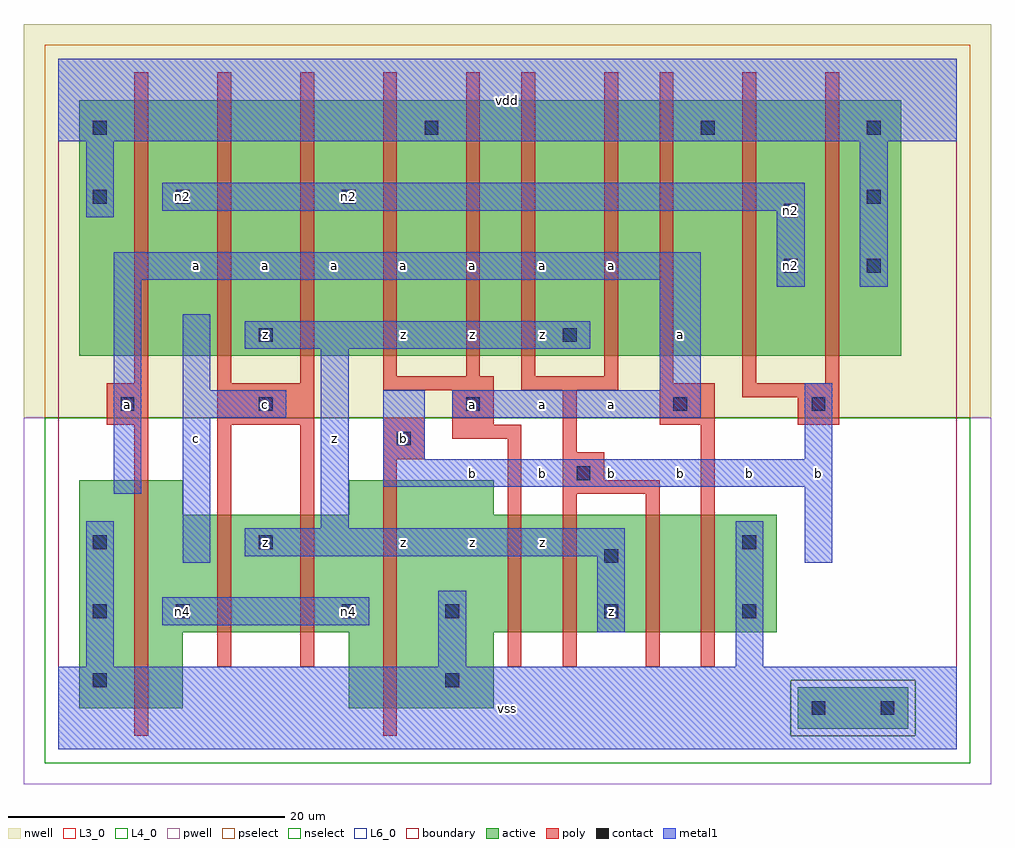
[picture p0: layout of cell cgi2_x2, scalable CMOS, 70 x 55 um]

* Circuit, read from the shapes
.subckt cgi2_x2 a b c n2 n4 vdd vss z
M1 n4 a vss vss nfet w=16.5u l=1u
M2 z c n4 vss nfet w=8.5u l=1u m=2
M3 vss b n4 vss nfet w=16.5u l=1u
M4 n1 a vss vss nfet w=8.5u l=1u
M5 z b n1 vss nfet w=8.5u l=1u
M6 n3 b z vss nfet w=8.5u l=1u
M7 vss a n3 vss nfet w=8.5u l=1u
M8 n2 a vdd n5 pfet w=18.5u l=1u m=2
M9 z c n2 n5 pfet w=18.5u l=1u m=2
M10 n6 a vdd n5 pfet w=18.5u l=1u
M11 z b n6 n5 pfet w=18.5u l=1u
M12 n7 b z n5 pfet w=18.5u l=1u
M13 vdd a n7 n5 pfet w=18.5u l=1u
M14 n2 b vdd n5 pfet w=18.5u l=1u m=2
.ends

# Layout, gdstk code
import gdstk
lib = gdstk.Library(unit=1e-6, precision=1e-09)
def R(c, l, rs):  # rectangles x0, y0, x1, y1
    for r in rs: c.add(gdstk.rectangle(r[:2], r[2:], *l))
def A(c, l, x, y, w, h, nx, ny, dx, dy):  # array of equal rectangles
    R(c, l, [(x+i*dx, y+j*dy, x+i*dx+w, y+j*dy+h) for i in range(nx) for j in range(ny)])
L3_0 = (3, 0)
L4_0 = (4, 0)
L6_0 = (6, 0)
contact = (25, 0)
pwell = (41, 0)
nwell = (42, 0)
active = (43, 0)
pselect = (44, 0)
nselect = (45, 0)
poly = (46, 0)
metal1 = (49, 0)
boundary = (63, 0)

cgi2_x2 = lib.new_cell('cgi2_x2')
R(cgi2_x2, L3_0, [(1.5,3,9,8.5), (21,3,31.5,8.5), (1.5,8.5,52,17), (1.5,17,9,19.5), (21,17,31.5,19.5)])
R(cgi2_x2, L4_0, [(1.5,28.5,61,47)])
R(cgi2_x2, L6_0, [(53.5,1.5,61.5,4.5)])
A(cgi2_x2, contact, 2.5, 4.5, 1, 1, 1, 3, 0, 5)
A(cgi2_x2, contact, 14.5, 24.5, 1, 1, 3, 1, 15, 0)
A(cgi2_x2, contact, 58.5, 34.5, 1, 1, 1, 3, 0, 5)
R(cgi2_x2, contact, [(54.5,2.5,55.5,3.5), (59.5,2.5,60.5,3.5), (28,4.5,29,5.5), (8.5,9.5,9.5,10.5), (20.5,9.5,21.5,10.5), (28,9.5,29,10.5), (39.5,9.5,40.5,10.5), (49.5,9.5,50.5,10.5), (39.5,13.5,40.5,14.5), (14.5,14.5,15.5,15.5), (49.5,14.5,50.5,15.5), (37.5,19.5,38.5,20.5), (24.5,22,25.5,23), (4.5,24.5,5.5,25.5), (54.5,24.5,55.5,25.5), (14.5,29.5,15.5,30.5), (36.5,29.5,37.5,30.5), (52.5,34.5,53.5,35.5), (52.5,38.5,53.5,39.5), (2.5,39.5,3.5,40.5), (8.5,39.5,9.5,40.5), (20.5,39.5,21.5,40.5), (2.5,44.5,3.5,45.5), (26.5,44.5,27.5,45.5), (46.5,44.5,47.5,45.5)])
R(cgi2_x2, pwell, [(-2.5,-2.5,67.5,24)])
R(cgi2_x2, nwell, [(-2.5,24,67.5,52.5)])
R(cgi2_x2, active, [(53.5,1.5,61.5,4.5), (1.5,3,9,8.5), (21,3,31.5,8.5), (1.5,8.5,52,17), (1.5,17,9,19.5), (21,17,31.5,19.5), (1.5,28.5,61,47)])
R(cgi2_x2, pselect, [(53,1,62,5), (-1,24,66,51)])
R(cgi2_x2, nselect, [(-1,-1,66,1), (-1,1,53,5), (62,1,66,5), (-1,5,66,24)])
A(cgi2_x2, poly, 5.5, 26.5, 1, 22.5, 3, 1, 6, 0)
A(cgi2_x2, poly, 43.5, 26.5, 1, 22.5, 3, 1, 6, 0)
R(cgi2_x2, poly, [(5.5,1,6.5,23.5), (23.5,1,24.5,21), (11.5,6,12.5,23.5), (17.5,6,18.5,23.5), (32.5,6,33.5,22.5), (36.5,6,37.5,18.5), (42.5,6,43.5,18.5), (46.5,6,47.5,23.5), (36.5,18.5,43.5,19.5), (36.5,19.5,39.5,21.5), (23.5,21,26.5,24), (36.5,21.5,37.5,26), (28.5,22.5,33.5,23.5), (3.5,23.5,6.5,26.5), (11.5,23.5,18.5,26.5), (28.5,23.5,31.5,26), (43.5,23.5,47.5,26.5), (53.5,23.5,56.5,25.5), (49.5,25.5,56.5,26.5), (23.5,26,31.5,27), (33.5,26,40.5,27), (23.5,27,24.5,49), (29.5,27,30.5,49), (33.5,27,34.5,49), (39.5,27,40.5,49)])
R(cgi2_x2, metal1, [(0,0,65,6), (0,0,65,6), (2,6,4,16.5), (2,6,4,16.5), (27.5,6,29.5,11.5), (27.5,6,29.5,11.5), (49,6,51,16.5), (49,6,51,16.5), (39,8.5,41,14), (39,8.5,41,14), (7.5,9,22.5,11), (7.5,9,22.5,11), (9,13.5,11,24), (9,13.5,11,24), (54,13.5,56,19), (54,13.5,56,19), (13.5,14,41,16), (13.5,14,41,16), (19,16,21,29), (19,16,21,29), (4,18.5,6,34), (4,18.5,6,34), (23.5,19,56,21), (23.5,19,56,21), (23.5,21,26.5,26), (23.5,21,26.5,26), (54,21,56,26.5), (54,21,56,26.5), (9,24,16.5,26), (9,24,16.5,26), (28.5,24,46.5,26), (28.5,24,46.5,26), (9,26,11,31.5), (9,26,11,31.5), (43.5,26,46.5,34), (43.5,26,46.5,34), (13.5,29,38.5,31), (13.5,29,38.5,31), (52,33.5,54,39), (52,33.5,54,39), (58,33.5,60,44), (58,33.5,60,44), (4,34,46.5,36), (4,34,46.5,36), (2,38.5,4,44), (2,38.5,4,44), (7.5,39,54,41), (7.5,39,54,41), (0,44,65,50), (0,44,65,50)])
R(cgi2_x2, boundary, [(0,0,65,50)])
cgi2_x2.add(gdstk.Label('n4', (9,10), layer=49, texttype=0))
cgi2_x2.add(gdstk.Label('n2', (9,40), layer=49, texttype=0))
cgi2_x2.add(gdstk.Label('n4', (21,10), layer=49, texttype=0))
cgi2_x2.add(gdstk.Label('n2', (21,40), layer=49, texttype=0))
cgi2_x2.add(gdstk.Label('n2', (53,35), layer=49, texttype=0))
cgi2_x2.add(gdstk.Label('n2', (53,39), layer=49, texttype=0))
cgi2_x2.add(gdstk.Label('a', (5,25), layer=49, texttype=0))
cgi2_x2.add(gdstk.Label('c', (10,22.5), layer=49, texttype=0))
cgi2_x2.add(gdstk.Label('a', (10,35), layer=49, texttype=0))
cgi2_x2.add(gdstk.Label('z', (15,15), layer=49, texttype=0))
cgi2_x2.add(gdstk.Label('z', (20,22.5), layer=49, texttype=0))
cgi2_x2.add(gdstk.Label('c', (15,25), layer=49, texttype=0))
cgi2_x2.add(gdstk.Label('z', (15,30), layer=49, texttype=0))
cgi2_x2.add(gdstk.Label('a', (15,35), layer=49, texttype=0))
cgi2_x2.add(gdstk.Label('a', (20,35), layer=49, texttype=0))
cgi2_x2.add(gdstk.Label('vss', (32.5,3), layer=49, texttype=0))
cgi2_x2.add(gdstk.Label('z', (25,15), layer=49, texttype=0))
cgi2_x2.add(gdstk.Label('z', (35,15), layer=49, texttype=0))
cgi2_x2.add(gdstk.Label('z', (30,15), layer=49, texttype=0))
cgi2_x2.add(gdstk.Label('b', (30,20), layer=49, texttype=0))
cgi2_x2.add(gdstk.Label('b', (35,20), layer=49, texttype=0))
cgi2_x2.add(gdstk.Label('b', (25,22.5), layer=49, texttype=0))
cgi2_x2.add(gdstk.Label('a', (35,25), layer=49, texttype=0))
cgi2_x2.add(gdstk.Label('a', (30,25), layer=49, texttype=0))
cgi2_x2.add(gdstk.Label('z', (35,30), layer=49, texttype=0))
cgi2_x2.add(gdstk.Label('z', (30,30), layer=49, texttype=0))
cgi2_x2.add(gdstk.Label('z', (25,30), layer=49, texttype=0))
cgi2_x2.add(gdstk.Label('a', (25,35), layer=49, texttype=0))
cgi2_x2.add(gdstk.Label('a', (30,35), layer=49, texttype=0))
cgi2_x2.add(gdstk.Label('a', (35,35), layer=49, texttype=0))
cgi2_x2.add(gdstk.Label('vdd', (32.5,47), layer=49, texttype=0))
cgi2_x2.add(gdstk.Label('z', (40,10), layer=49, texttype=0))
cgi2_x2.add(gdstk.Label('b', (50,20), layer=49, texttype=0))
cgi2_x2.add(gdstk.Label('b', (45,20), layer=49, texttype=0))
cgi2_x2.add(gdstk.Label('b', (40,20), layer=49, texttype=0))
cgi2_x2.add(gdstk.Label('a', (40,25), layer=49, texttype=0))
cgi2_x2.add(gdstk.Label('a', (45,30), layer=49, texttype=0))
cgi2_x2.add(gdstk.Label('a', (40,35), layer=49, texttype=0))
cgi2_x2.add(gdstk.Label('b', (55,20), layer=49, texttype=0))

lib.write_gds('cgi2_x2.gds')
